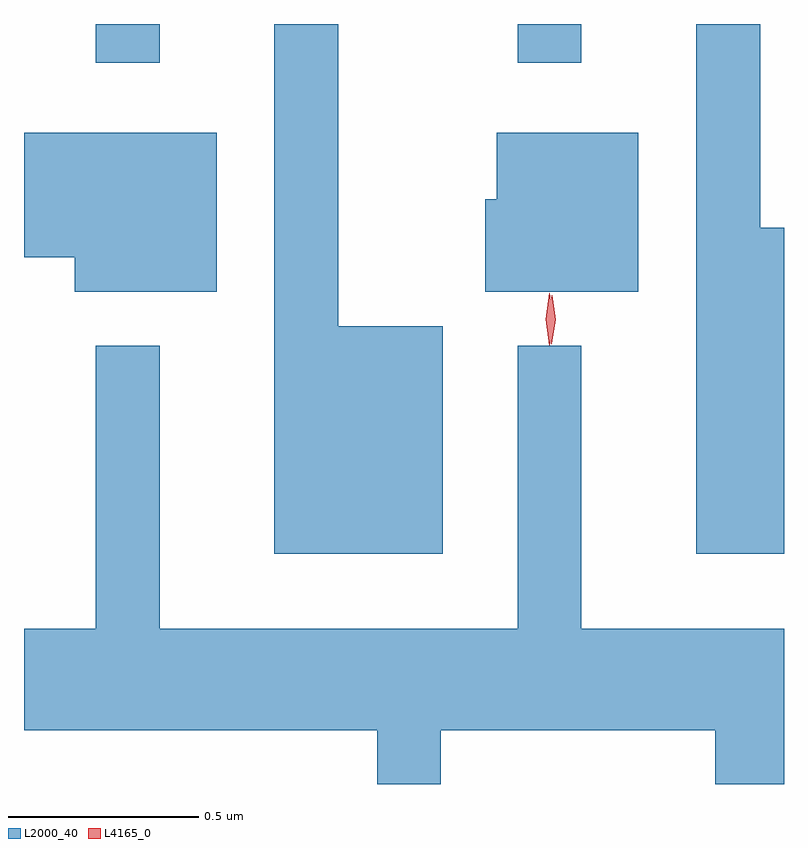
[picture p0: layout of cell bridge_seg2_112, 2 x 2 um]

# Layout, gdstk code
import gdstk
lib = gdstk.Library(unit=1e-6, precision=1e-09)
def R(c, l, rs):  # rectangles x0, y0, x1, y1
    for r in rs: c.add(gdstk.rectangle(r[:2], r[2:], *l))
def P(c, l, *ps):  # polygons
    for p in ps: c.add(gdstk.Polygon(p, *l))
L2000_40 = (2000, 40)
L4165_0 = (4165, 0)

bridge_seg2_112 = lib.new_cell('bridge_seg2_112')
R(bridge_seg2_112, L2000_40, [(916.131,1072.273,916.299,1072.375), (917.241,1072.273,917.409,1072.375)])
P(bridge_seg2_112, L2000_40, [(917.942,1071.839),(917.879,1071.839),(917.879,1072.375),(917.711,1072.375),(917.711,1070.981),(917.942,1070.981)],
  [(917.044,1071.579),(916.769,1071.579),(916.769,1072.375),(916.601,1072.375),(916.601,1070.981),(917.044,1070.981)],
  [(916.449,1072.089),(915.942,1072.089),(915.942,1071.761),(916.076,1071.761),(916.076,1071.671),(916.449,1071.671)],
  [(917.559,1072.089),(917.186,1072.089),(917.186,1071.914),(917.156,1071.914),(917.156,1071.671),(917.559,1071.671)],
  [(917.039,1070.516),(917.761,1070.516),(917.761,1070.375),(917.942,1070.375),(917.942,1070.784),(917.409,1070.784),(917.409,1071.528),(917.241,1071.528),(917.241,1070.784),(916.299,1070.784),(916.299,1071.528),(916.131,1071.528),(916.131,1070.784),(915.942,1070.784),(915.942,1070.516),(916.871,1070.516),(916.871,1070.375),(917.039,1070.375)])
P(bridge_seg2_112, L4165_0, [(917.325,1071.529),(917.324,1071.53),(917.315,1071.598),(917.324,1071.666),(917.325,1071.666),(917.325,1071.666),(917.335,1071.598),(917.325,1071.53)],
  [(917.33,1071.532),(917.33,1071.533),(917.321,1071.597),(917.331,1071.661),(917.332,1071.661),(917.332,1071.661),(917.341,1071.597),(917.331,1071.533)])

lib.write_gds('bridge_seg2_112.gds')
